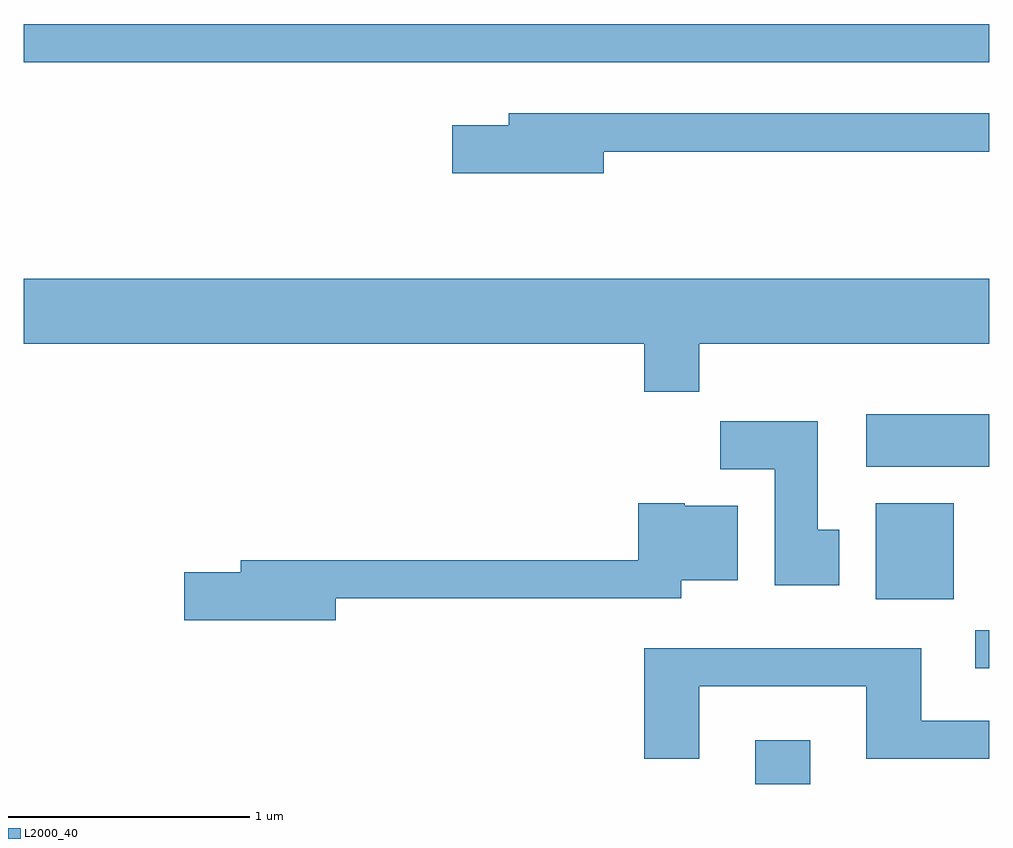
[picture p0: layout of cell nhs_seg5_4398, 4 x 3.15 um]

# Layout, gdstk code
import gdstk
lib = gdstk.Library(unit=1e-6, precision=1e-09)
def R(c, l, rs):  # rectangles x0, y0, x1, y1
    for r in rs: c.add(gdstk.rectangle(r[:2], r[2:], *l))
def P(c, l, *ps):  # polygons
    for p in ps: c.add(gdstk.Polygon(p, *l))
L2000_40 = (2000, 40)

nhs_seg5_4398 = lib.new_cell('nhs_seg5_4398')
R(nhs_seg5_4398, L2000_40, [(318.641,1466.072,318.869,1466.254), (319.553,1466.551,319.611,1466.709), (319.141,1466.836,319.464,1467.234), (319.101,1467.386,319.611,1467.604), (315.611,1469.061,319.611,1469.219)])
P(nhs_seg5_4398, L2000_40, [(318.014,1468.691),(319.611,1468.691),(319.611,1468.849),(317.621,1468.849),(317.621,1468.799),(317.386,1468.799),(317.386,1468.601),(318.014,1468.601)],
  [(318.409,1467.896),(319.611,1467.896),(319.611,1468.164),(315.611,1468.164),(315.611,1467.896),(318.181,1467.896),(318.181,1467.696),(318.409,1467.696)],
  [(318.989,1467.124),(318.899,1467.124),(318.899,1467.574),(318.496,1467.574),(318.496,1467.376),(318.721,1467.376),(318.721,1466.896),(318.989,1466.896)],
  [(316.904,1466.841),(318.334,1466.841),(318.334,1466.916),(318.569,1466.916),(318.569,1467.224),(318.35,1467.224),(318.35,1467.234),(318.156,1467.234),(318.156,1466.999),(316.511,1466.999),(316.511,1466.949),(316.276,1466.949),(316.276,1466.751),(316.904,1466.751)],
  [(318.409,1466.476),(319.101,1466.476),(319.101,1466.176),(319.611,1466.176),(319.611,1466.334),(319.329,1466.334),(319.329,1466.634),(318.181,1466.634),(318.181,1466.176),(318.409,1466.176)])

lib.write_gds('nhs_seg5_4398.gds')
